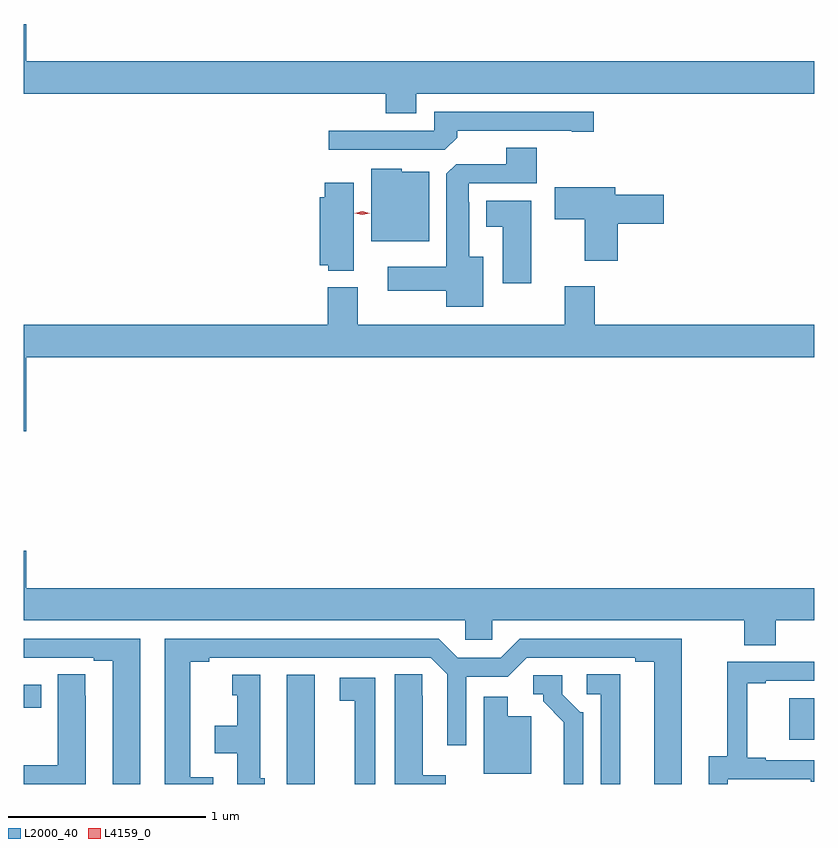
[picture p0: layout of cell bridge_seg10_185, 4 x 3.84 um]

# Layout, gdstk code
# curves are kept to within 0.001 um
import gdstk
lib = gdstk.Library(unit=1e-6, precision=1e-09)
def R(c, l, rs):  # rectangles x0, y0, x1, y1
    for r in rs: c.add(gdstk.rectangle(r[:2], r[2:], *l))
def P(c, l, *ps):  # polygons
    for p in ps: c.add(gdstk.Polygon(p, *l))
L2000_40 = (2000, 40)
L4159_0 = (4159, 0)

bridge_seg10_185 = lib.new_cell('bridge_seg10_185')
R(bridge_seg10_185, L2000_40, [(154.502,1250.205,154.642,1250.758), (157.043,1250.429,157.17,1250.638), (153.17,1250.59,153.259,1250.706)])
P(bridge_seg10_185, L2000_40, [(155.155,1253.696),(157.17,1253.696),(157.17,1253.86),(153.184,1253.86),(153.184,1254.049),(153.17,1254.049),(153.17,1253.696),(155.003,1253.696),(155.003,1253.597),(155.155,1253.597)],
  [(155.363,1253.474),(155.363,1253.508),(155.942,1253.508),(155.942,1253.503),(156.055,1253.503),(156.055,1253.604),(155.247,1253.604),(155.247,1253.508),(154.713,1253.508),(154.713,1253.412),(155.301,1253.412)],
  [(155.494,1252.873),(155.425,1252.873),(155.425,1253.147),(155.421,1253.147),(155.421,1253.244),(155.765,1253.244),(155.765,1253.423),(155.612,1253.423),(155.612,1253.34),(155.358,1253.34),(155.309,1253.291),(155.309,1252.822),(155.013,1252.822),(155.013,1252.7),(155.309,1252.7),(155.309,1252.619),(155.494,1252.619)],
  [(155.221,1253.302),(155.082,1253.302),(155.082,1253.317),(154.928,1253.317),(154.928,1252.949),(155.221,1252.949)],
  [(154.84,1253.245),(154.694,1253.245),(154.694,1253.173),(154.667,1253.173),(154.667,1252.829),(154.71,1252.829),(154.71,1252.802),(154.84,1252.802)],
  [(156.176,1253.039),(156.409,1253.039),(156.409,1253.186),(156.163,1253.186),(156.163,1253.224),(155.856,1253.224),(155.856,1253.062),(156.008,1253.062),(156.008,1252.851),(156.176,1252.851)],
  [(155.737,1253.155),(155.51,1253.155),(155.51,1253.024),(155.594,1253.024),(155.594,1252.737),(155.737,1252.737)],
  [(153.184,1252.364),(157.17,1252.364),(157.17,1252.528),(156.059,1252.528),(156.059,1252.723),(155.906,1252.723),(155.906,1252.528),(154.861,1252.528),(154.861,1252.717),(154.709,1252.717),(154.709,1252.528),(153.17,1252.528),(153.17,1251.99),(153.184,1251.99)],
  [(156.974,1251.032),(157.17,1251.032),(157.17,1251.196),(153.184,1251.196),(153.184,1251.385),(153.17,1251.385),(153.17,1251.032),(155.403,1251.032),(155.403,1250.934),(155.541,1250.934),(155.541,1251.032),(156.814,1251.032),(156.814,1250.908),(156.974,1250.908)],
  [(154.129,1250.238),(154.012,1250.238),(154.012,1250.824),(154.108,1250.824),(154.108,1250.844),(155.229,1250.844),(155.313,1250.76),(155.313,1250.4),(155.409,1250.4),(155.409,1250.748),(155.619,1250.748),(155.715,1250.844),(156.263,1250.844),(156.263,1250.824),(156.359,1250.824),(156.359,1250.205),(156.498,1250.205),(156.499,1250.94),(155.679,1250.94),(155.583,1250.844),(155.365,1250.844),(155.269,1250.94),(153.884,1250.94),(153.884,1250.205),(154.129,1250.205)],
  [(153.76,1250.94),(153.17,1250.94),(153.17,1250.843),(153.248,1250.843),(153.248,1250.844),(153.524,1250.844),(153.524,1250.829),(153.62,1250.829),(153.62,1250.205),(153.76,1250.205)],
  [(156.732,1250.229),(157.151,1250.229),(157.151,1250.217),(157.17,1250.217),(157.17,1250.325),(156.925,1250.325),(156.925,1250.338),(156.83,1250.338),(156.83,1250.715),(156.925,1250.715),(156.925,1250.727),(157.17,1250.727),(157.17,1250.823),(156.73,1250.823),(156.73,1250.345),(156.635,1250.345),(156.635,1250.205),(156.732,1250.205)],
  [(155.305,1250.248),(155.188,1250.248),(155.188,1250.651),(155.187,1250.651),(155.187,1250.759),(155.048,1250.759),(155.048,1250.205),(155.305,1250.205)],
  [(153.484,1250.651),(153.483,1250.651),(153.483,1250.759),(153.344,1250.759),(153.344,1250.301),(153.17,1250.301),(153.17,1250.205),(153.484,1250.205)],
  [(156.187,1250.759),(156.018,1250.759),(156.018,1250.658),(156.09,1250.658),(156.09,1250.205),(156.187,1250.205)],
  [(154.39,1250.235),(154.366,1250.235),(154.366,1250.758),(154.226,1250.758),(154.226,1250.655),(154.25,1250.655),(154.25,1250.5),(154.136,1250.5),(154.136,1250.36),(154.25,1250.36),(154.25,1250.205),(154.39,1250.205)],
  [(156,1250.568),(155.985,1250.568),(155.895,1250.658),(155.895,1250.754),(155.748,1250.754),(155.748,1250.658),(155.798,1250.658),(155.798,1250.623),(155.903,1250.518),(155.903,1250.205),(156,1250.205)],
  [(154.948,1250.742),(154.77,1250.742),(154.77,1250.626),(154.844,1250.626),(154.844,1250.205),(154.948,1250.205)],
  [(155.737,1250.548),(155.62,1250.548),(155.62,1250.647),(155.498,1250.647),(155.498,1250.258),(155.737,1250.258)])
P(bridge_seg10_185, L4159_0, [(154.883,1253.083),(154.845,1253.093),(154.845,1253.093),(154.845,1253.093),(154.883,1253.103),(154.921,1253.093),(154.922,1253.093),(154.921,1253.093)])

lib.write_gds('bridge_seg10_185.gds')
